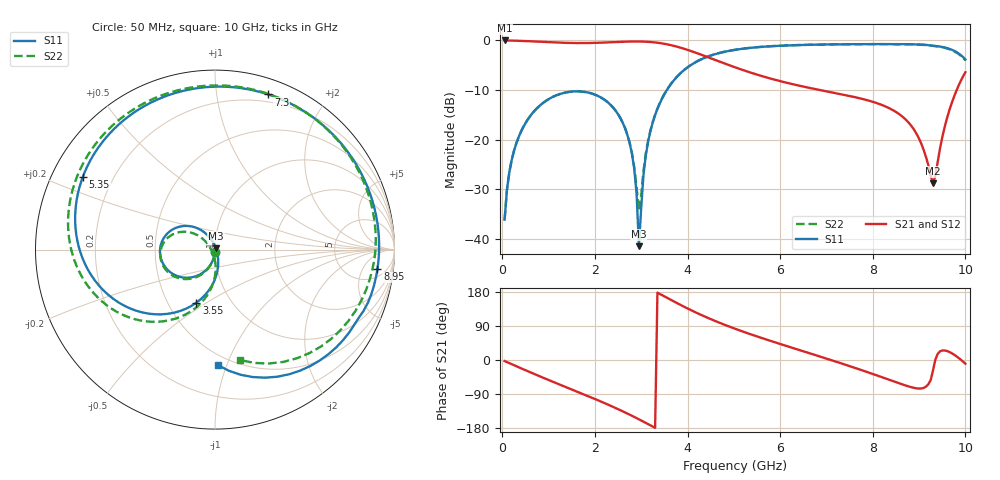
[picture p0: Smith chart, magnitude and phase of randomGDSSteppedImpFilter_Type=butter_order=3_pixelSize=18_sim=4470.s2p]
! freq	dB(S11)	phase(S11)	dB(S12)	phase(S12)
!  dB(S21)	phase(S21)	dB(S22)	phase(S22)
!S-par simulation data
#  GHz  S  DB  R 50
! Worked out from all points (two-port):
!   200 points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, 50 MHz to 10 GHz, reference 50 ohm
!   highest |S21| = -0.01 dB at 50 MHz (marker M1); lowest = -28.8 dB at 9.3 GHz (marker M2)
!   |S21| within 3 dB of the highest: start of sweep to 4.334 GHz
!   lowest |S11| = -41.5 dB at 2.95 GHz (marker M3), VSWR 1.02, Z = 50.5 + j0.649 ohm
!   |S11| at or under -10 dB: start of sweep to 3.554 GHz
!   |S22| runs from -36.1 to -0.8 dB; largest |S21 - S12| = 0
!   S11 on the Smith chart (normalised r, x): 50 MHz: 1.00, -0.03; 3.55 GHz: 0.69, -0.45; 5.35 GHz: 0.09, +0.26; 7.3 GHz: 0.13, +1.39; 8.95 GHz: 8, -10; 10 GHz: 0.42, -0.93
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0.05  -36.12 -92.5  -0.01 -2.8  -0.01 -2.8  -36.12 -92.3
0.2  -24.22 -101.5  -0.03 -10.9  -0.03 -10.9  -24.22 -100.9
0.5  -16.68 -118.0  -0.13 -26.9  -0.13 -26.9  -16.67 -116.4
1.1  -11.34 -150.0  -0.40 -57.9  -0.40 -57.9  -11.34 -146.5
1.75  -10.34 176.3  -0.53 -90.2  -0.53 -90.2  -10.34 -177.5
2.65  -17.68 125.0  -0.25 -138.3  -0.25 -138.3  -17.65 141.0
2.85  -25.92 108.0  -0.21 -150.3  -0.21 -150.3  -25.55 142.1
2.9  -30.90 98.7  -0.21 -153.4  -0.21 -153.4  -29.67 153.3
2.95  -41.46 49.4  -0.21 -156.5  -0.21 -156.5  -34.28 -165.5
3.1  -23.08 -75.0  -0.26 -166.0  -0.26 -166.0  -22.71 -88.7
3.4  -12.69 -98.9  -0.53 174.4  -0.53 174.4  -12.63 -97.3
3.55  -10.06 -109.4  -0.77 164.6  -0.77 164.6  -10.01 -105.6
4.2  -4.26 -151.3  -2.55 124.3  -2.55 124.3  -4.23 -142.4
5.05  -1.86 164.5  -5.50 81.4  -5.50 81.4  -1.84 177.7
5.35  -1.51 151.0  -6.45 68.4  -6.45 68.4  -1.49 165.6
6.7  -0.86 95.6  -9.69 15.3  -9.69 15.3  -0.86 116.4
7.3  -0.78 71.0  -10.81 -8.1  -10.81 -8.1  -0.78 94.1
8.35  -0.74 24.3  -13.63 -52.0  -13.63 -52.0  -0.76 49.3
8.95  -0.80 -6.9  -18.90 -74.9  -18.90 -74.9  -0.85 16.6
9.3  -1.09 -28.5  -28.78 -27.8  -28.78 -27.8  -1.07 -7.3
9.6  -1.53 -50.7  -15.77 23.8  -15.77 23.8  -1.61 -32.7
10  -3.84 -88.7  -6.41 -9.7  -6.41 -9.7  -3.99 -77.1
